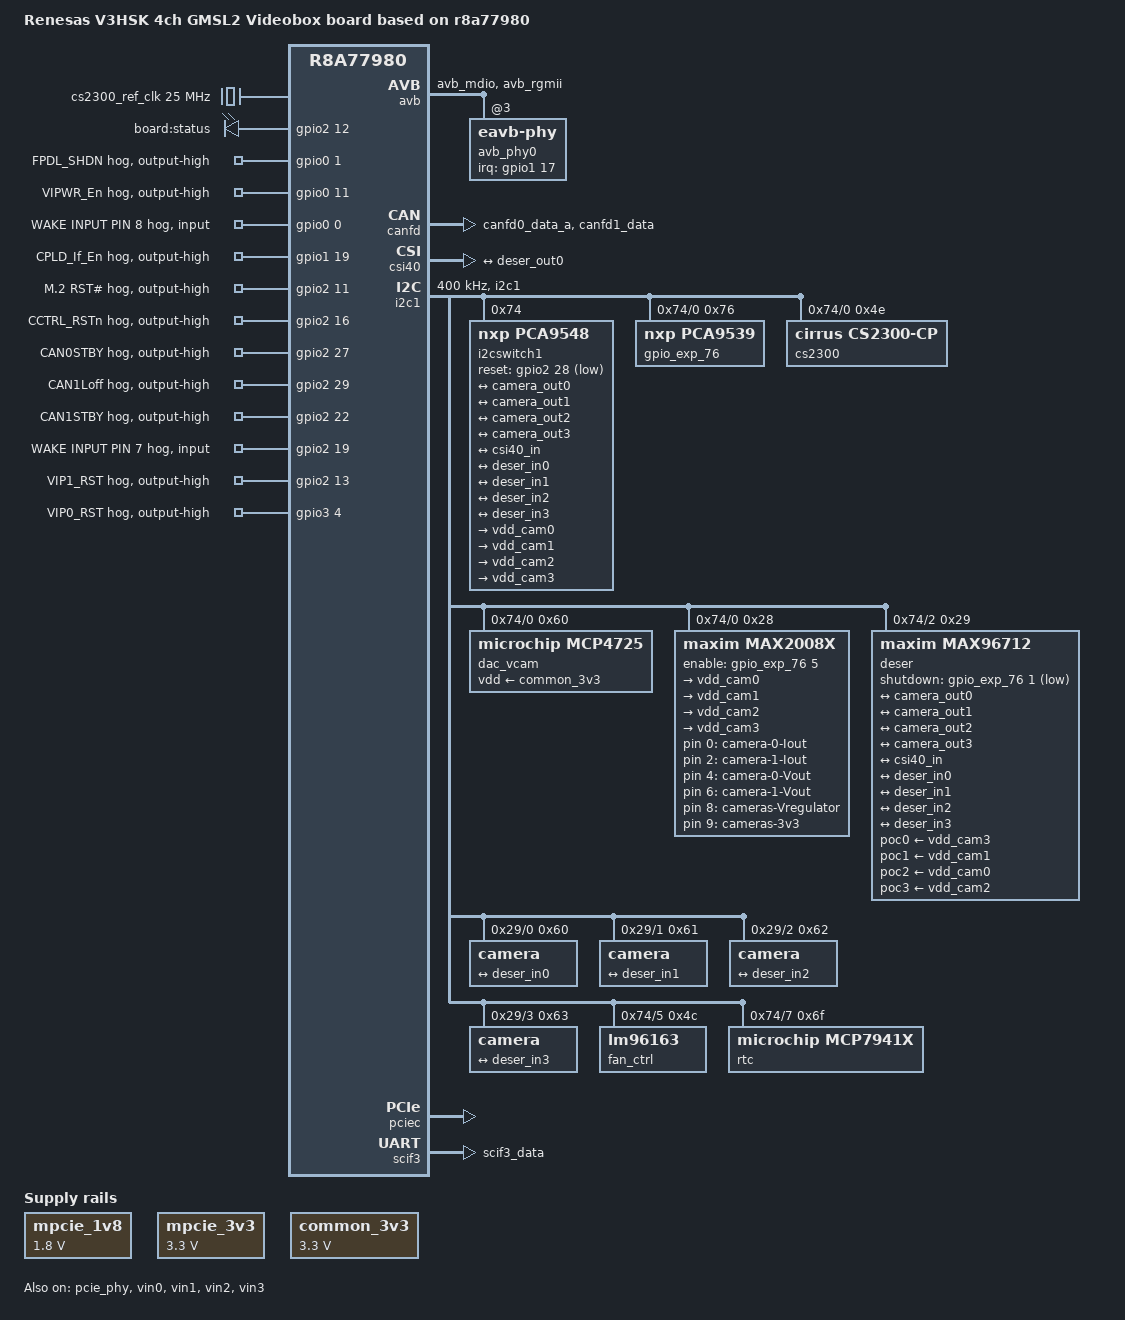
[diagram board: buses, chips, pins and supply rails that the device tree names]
// SPDX-License-Identifier: GPL-2.0
/*
 * Device Tree Source for the V3HSK GMSL2 Quad Videobox board on r8a77980
 *
 * Copyright (C) 2019-2020 Cogent Embedded, Inc.
 */

#include "r8a77980-v3hsk.dts"
#include <dt-bindings/gpio/gpio.h>
#include "camera.dtsi"

/ {
	model = "Renesas V3HSK 4ch GMSL2 Videobox board based on r8a77980";

	aliases {
		serial1 = &scif3;
		ethernet1 = &avb;
	};

	cs2300_ref_clk: cs2300_ref_clk {
		compatible = "fixed-clock";
		#clock-cells = <0>;
		clock-frequency = <25000000>;
	};

	leds {
		compatible = "gpio-leds";

		led0 {
			label = "board:status";
			gpios = <&gpio2 12 GPIO_ACTIVE_HIGH>;
			linux,default-trigger = "none";
		};
	};

	mpcie_1v8: regulator2 {
		compatible = "regulator-fixed";
		regulator-name = "mPCIe 1v8";
		regulator-min-microvolt = <1800000>;
		regulator-max-microvolt = <1800000>;
		regulator-boot-on;
		regulator-always-on;
	};

	mpcie_3v3: regulator3 {
		compatible = "regulator-fixed";
		regulator-name = "mPCIe 3v3";
		regulator-min-microvolt = <3300000>;
		regulator-max-microvolt = <3300000>;
		regulator-boot-on;
		regulator-always-on;
	};

	common_3v3: regulator4 {
		compatible = "regulator-fixed";
		regulator-name = "main 3v3";
		regulator-min-microvolt = <3300000>;
		regulator-max-microvolt = <3300000>;
		regulator-boot-on;
		regulator-always-on;
	};

	iio_hwmon: hwmon@1 {
		compatible = "iio-hwmon";
		io-channels = <&max2008x 0>, <&max2008x 2>, /* current */
			      <&max2008x 4>, <&max2008x 6>, /* voltage */
			      <&max2008x 8>, <&max2008x 9>; /* misc voltages */
		io-channel-names = "camera-0-Iout", "camera-1-Iout",
				   "camera-0-Vout", "camera-1-Vout",
				   "cameras-Vregulator", "cameras-3v3";
	};
};

&avb {
	pinctrl-0 = <&avb_pins>;
	pinctrl-names = "default";
	renesas,no-ether-link;
	phy-handle = <&avb_phy0>;
	status = "okay";
	phy-int-gpio = <&gpio1 17 GPIO_ACTIVE_LOW>;

	avb_phy0: eavb-phy@0 {
		rxc-skew-ps = <1500>;
		rxdv-skew-ps = <420>; /* default */
		rxd0-skew-ps = <420>; /* default */
		rxd1-skew-ps = <420>; /* default */
		rxd2-skew-ps = <420>; /* default */
		rxd3-skew-ps = <420>; /* default */
		txc-skew-ps = <900>; /* default */
		txen-skew-ps = <420>; /* default */
		txd0-skew-ps = <420>; /* default */
		txd1-skew-ps = <420>; /* default */
		txd2-skew-ps = <420>; /* default */
		txd3-skew-ps = <420>; /* default */
		reg = <3>;
		interrupt-parent = <&gpio1>;
		interrupts = <17 IRQ_TYPE_LEVEL_LOW>;
		max-speed = <1000>;
	};
};

&canfd {
	pinctrl-0 = <&canfd0_pins &canfd1_pins>;
	pinctrl-names = "default";
	status = "okay";

	channel0 {
		status = "okay";
	};

	channel1 {
		status = "okay";
	};
};

&csi40 {
	status = "okay";

	ports {
		#address-cells = <1>;
		#size-cells = <0>;

		port@0 {
			reg = <0>;

			csi40_in: endpoint {
				clock-lanes = <0>;
				data-lanes = <1 2 3 4>;
				remote-endpoint = <&deser_out0>;
			};
		};
	};
};

&i2c1 {
	pinctrl-0 = <&i2c1_pins>;
	pinctrl-names = "default";
	status = "okay";

	clock-frequency = <400000>;

	i2cswitch1: i2c-switch@74 {
		compatible = "nxp,pca9548";
		#address-cells = <1>;
		#size-cells = <0>;
		reg = <0x74>;
		reset-gpios = <&gpio2 28 GPIO_ACTIVE_LOW>;

		i2c@0 {
			#address-cells = <1>;
			#size-cells = <0>;
			reg = <0>;

			gpio_exp_76: gpio@76 {
				compatible = "nxp,pca9539";
				reg = <0x76>;
				gpio-controller;
				#gpio-cells = <2>;

				cmr_pwr_en {
					gpio-hog;
					gpios = <3 GPIO_ACTIVE_HIGH>;
					output-high;
					line-name = "CmrPEn";
				};
			};

			cs2300: clk_multiplier@4e {
				#clock-cells = <0>;
				compatible = "cirrus,cs2300-cp";
				reg = <0x4e>;
				clocks = <&cs2300_ref_clk>;
				clock-names = "clk_in";

				assigned-clocks = <&cs2300>;
				assigned-clock-rates = <25000000>;
			};

			dac_vcam: dac_vcam@60 {
				compatible = "microchip,mcp4725";
				reg = <0x60>;
				vdd-supply = <&common_3v3>;
			};

			max2008x: vcam_switch@28 {
				compatible = "maxim,max2008x";
				reg = <0x28>;
				#io-channel-cells = <1>;
				enable-gpios = <&gpio_exp_76 5 GPIO_ACTIVE_HIGH>;

				regulators {
					#address-cells = <1>;
					#size-cells = <0>;

					vdd_cam0: SW0 {
						reg = <0>;
						regulator-name = "Camera-0";
					};
					vdd_cam1: SW1 {
						reg = <1>;
						regulator-name = "Camera-1";
					};
					vdd_cam2: SW2 {
						reg = <2>;
						regulator-name = "Camera-2";
					};
					vdd_cam3: SW3 {
						reg = <3>;
						regulator-name = "Camera-3";
					};
				};
			};
		};

		i2c@2 {
			#address-cells = <1>;
			#size-cells = <0>;
			reg = <2>;

			deser@29 {
				compatible = "maxim,max96712";
				#address-cells = <1>;
				#size-cells = <0>;
				reg = <0x29>;
				regs = <0x0c 0x0d 0x0e 0x0f>;
				clocks = <&cs2300>;
				clock-names = "ref_clk";
				shutdown-gpios = <&gpio_exp_76 1 GPIO_ACTIVE_LOW>;

				maxim,links-mipi-map = <2 2 2 2>;

				poc0-supply = <&vdd_cam3>;
				poc1-supply = <&vdd_cam1>;
				poc2-supply = <&vdd_cam0>;
				poc3-supply = <&vdd_cam2>;

				ports {
					#address-cells = <1>;
					#size-cells = <0>;

					port@0 {
						reg = <0>;
						deser_in0: endpoint {
							remote-endpoint = <&camera_out0>;
						};
					};

					port@1 {
						reg = <1>;
						deser_in1: endpoint {
							remote-endpoint = <&camera_out1>;
						};
					};

					port@2 {
						reg = <2>;
						deser_in2: endpoint {
							remote-endpoint = <&camera_out2>;
						};
					};

					port@3 {
						reg = <3>;
						deser_in3: endpoint {
							remote-endpoint = <&camera_out3>;
						};
					};

					port@4 {
						reg = <4>;
						deser_out0: endpoint {
							clock-lanes = <0>;
							data-lanes = <1 2 3 4>;
							remote-endpoint = <&csi40_in>;
						};
					};
				};

				i2c@0 {
					#address-cells = <1>;
					#size-cells = <0>;
					reg = <0>;

					camera@60 {
						compatible = LVDS_CAMERA;
						reg = <0x60 0x0c>;

						port {
							camera_out0: endpoint {
								remote-endpoint = <&deser_in0>;
							};
						};
					};
				};

				i2c@1 {
					#address-cells = <1>;
					#size-cells = <0>;
					reg = <1>;

					camera@61 {
						compatible = LVDS_CAMERA;
						reg = <0x61 0x0d>;

						port {
							camera_out1: endpoint {
								remote-endpoint = <&deser_in1>;
							};
						};
					};
				};

				i2c@2 {
					#address-cells = <1>;
					#size-cells = <0>;
					reg = <2>;

					camera@62 {
						compatible = LVDS_CAMERA;
						reg = <0x62 0x0e>;

						port {
							camera_out2: endpoint {
								remote-endpoint = <&deser_in2>;
							};
						};
					};
				};

				i2c@3 {
					#address-cells = <1>;
					#size-cells = <0>;
					reg = <3>;

					camera@63 {
						compatible = LVDS_CAMERA;
						reg = <0x63 0x0f>;

						port {
							camera_out3: endpoint {
								remote-endpoint = <&deser_in3>;
							};
						};
					};
				};
			};
		};

		i2c@3 {
			#address-cells = <1>;
			#size-cells = <0>;
			reg = <3>;
		};

		i2c@5 {
			#address-cells = <1>;
			#size-cells = <0>;
			reg = <5>;

			fan_ctrl: lm96063@4c {
				compatible = "lm96163";
				reg = <0x4c>;
			};
		};

		i2c@7 {
			#address-cells = <1>;
			#size-cells = <0>;
			reg = <7>;

			rtc: mcp79411@6f {
				compatible = "microchip,mcp7941x";
				reg = <0x6f>;
			};
		};
	};
};

&gpio0 {
	fpdl_shdn {
		gpio-hog;
		gpios = <1 GPIO_ACTIVE_HIGH>;
		output-high;
		line-name = "FPDL_SHDN";
	};

	cam_pwr_en {
		gpio-hog;
		gpios = <11 GPIO_ACTIVE_HIGH>;
		output-high;
		line-name = "VIPWR_En";
	};

	wake_pin_8 {
		gpio-hog;
		gpios = <0 GPIO_ACTIVE_HIGH>;
		input;
		line-name = "WAKE INPUT PIN 8";
	};
};

&gpio1 {
	md_buf_en {
		gpio-hog;
		gpios = <19 GPIO_ACTIVE_HIGH>;
		output-high;
		line-name = "CPLD_If_En";
	};
};

&gpio2 {
	m2_rst {
		gpio-hog;
		gpios = <11 GPIO_ACTIVE_HIGH>;
		output-high;
		line-name = "M.2 RST#";
	};

	cctrl_rstn {
		gpio-hog;
		gpios = <16 GPIO_ACTIVE_HIGH>;
		output-high;
		line-name = "CCTRL_RSTn";
	};

	can0_stby {
		gpio-hog;
		gpios = <27 GPIO_ACTIVE_HIGH>;
		output-high;
		line-name = "CAN0STBY";
	};

	can1_load {
		gpio-hog;
		gpios = <29 GPIO_ACTIVE_HIGH>;
		output-high;
		line-name = "CAN1Loff";
	};

	can1_stby {
		gpio-hog;
		gpios = <22 GPIO_ACTIVE_HIGH>;
		output-high;
		line-name = "CAN1STBY";
	};

	wake_pin_7 {
		gpio-hog;
		gpios = <19 GPIO_ACTIVE_HIGH>;
		input;
		line-name = "WAKE INPUT PIN 7";
	};

	vi1_gpioext_rst {
		gpio-hog;
		gpios = <13 GPIO_ACTIVE_HIGH>;
		output-high;
		line-name = "VIP1_RST";
	};
};

&gpio3 {
	vi0_gpioext_rst {
		gpio-hog;
		gpios = <4 GPIO_ACTIVE_HIGH>;
		output-high;
		line-name = "VIP0_RST";
	};
};

&pcie_bus_clk {
	clock-frequency = <100000000>;
	status = "okay";
};

&pciec {
	pcie3v3-supply = <&mpcie_3v3>;
	pcie1v8-supply = <&mpcie_1v8>;
	status = "okay";
};

&pcie_phy {
	status = "okay";
};

&pfc {
	canfd0_pins: canfd0 {
		groups = "canfd0_data_a";
		function = "canfd0";
	};

	canfd1_pins: canfd1 {
		groups = "canfd1_data";
		function = "canfd1";
	};

	avb_pins: avb {
		groups = "avb_mdio", "avb_rgmii";
		function = "avb";
	};

	i2c1_pins: i2c1 {
		groups = "i2c1";
		function = "i2c1";
	};

	scif3_pins: scif3 {
		groups = "scif3_data";
		function = "scif3";
	};
};

&scif3 {
	pinctrl-0 = <&scif3_pins>;
	pinctrl-names = "default";

	status = "okay";
};

&tpu {
	status = "disabled";
};

&vin0 {
	status = "okay";
};

&vin1 {
	status = "okay";
};

&vin2 {
	status = "okay";
};

&vin3 {
	status = "okay";
};
